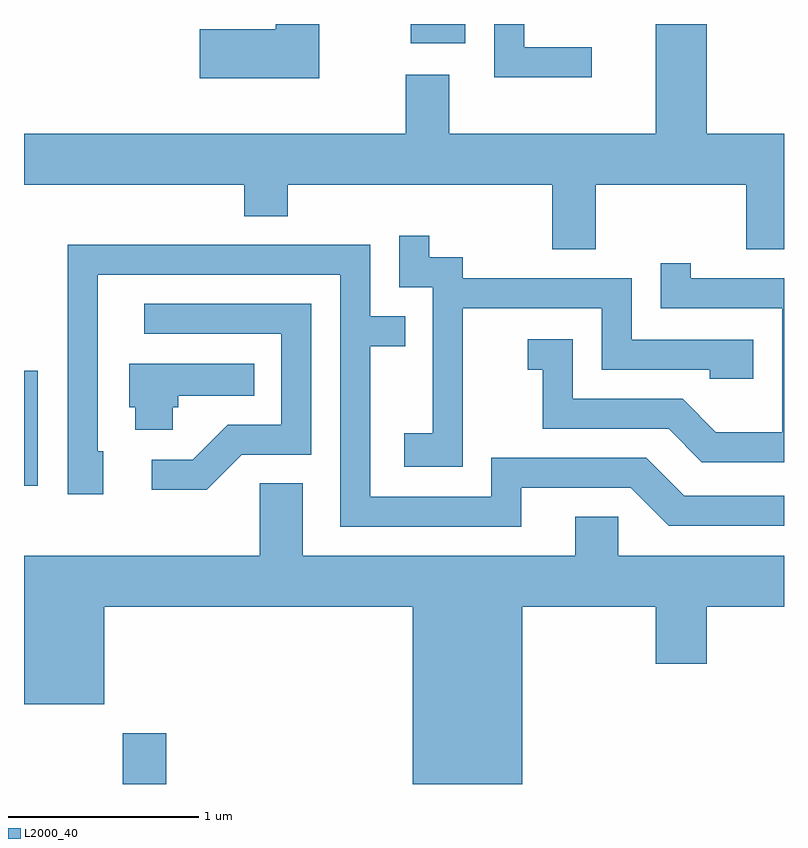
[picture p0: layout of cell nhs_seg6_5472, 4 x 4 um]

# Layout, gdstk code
import gdstk
lib = gdstk.Library(unit=1e-6, precision=1e-09)
def R(c, l, rs):  # rectangles x0, y0, x1, y1
    for r in rs: c.add(gdstk.rectangle(r[:2], r[2:], *l))
def P(c, l, *ps):  # polygons
    for p in ps: c.add(gdstk.Polygon(p, *l))
L2000_40 = (2000, 40)

nhs_seg6_5472 = lib.new_cell('nhs_seg6_5472')
R(nhs_seg6_5472, L2000_40, [(352.131,1600.162,352.359,1600.429), (351.611,1601.731,351.684,1602.338), (353.646,1604.061,353.934,1604.162)])
P(nhs_seg6_5472, L2000_40, [(353.164,1604.162),(352.936,1604.162),(352.936,1604.134),(352.536,1604.134),(352.536,1603.876),(353.164,1603.876)],
  [(354.619,1603.316),(355.411,1603.316),(355.411,1602.976),(355.611,1602.976),(355.611,1603.584),(355.204,1603.584),(355.204,1604.162),(354.936,1604.162),(354.936,1603.584),(353.849,1603.584),(353.849,1603.894),(353.621,1603.894),(353.621,1603.584),(351.611,1603.584),(351.611,1603.316),(352.771,1603.316),(352.771,1603.151),(352.999,1603.151),(352.999,1603.316),(354.391,1603.316),(354.391,1602.976),(354.619,1602.976)],
  [(354.598,1604.039),(354.244,1604.039),(354.244,1604.162),(354.086,1604.162),(354.086,1603.881),(354.598,1603.881)],
  [(353.919,1602.666),(354.651,1602.666),(354.651,1602.341),(355.221,1602.341),(355.221,1602.296),(355.449,1602.296),(355.449,1602.499),(354.809,1602.499),(354.809,1602.824),(353.919,1602.824),(353.919,1602.934),(353.744,1602.934),(353.744,1603.048),(353.586,1603.048),(353.586,1602.776),(353.761,1602.776),(353.761,1602.009),(353.611,1602.009),(353.611,1601.831),(353.919,1601.831)],
  [(354.229,1601.721),(354.804,1601.721),(355.004,1601.521),(355.611,1601.521),(355.611,1601.679),(355.087,1601.679),(354.887,1601.879),(354.071,1601.879),(354.071,1601.674),(353.434,1601.674),(353.434,1602.466),(353.618,1602.466),(353.618,1602.624),(353.434,1602.624),(353.434,1602.999),(351.841,1602.999),(351.841,1601.686),(352.029,1601.686),(352.029,1601.914),(351.999,1601.914),(351.999,1602.841),(353.276,1602.841),(353.276,1601.516),(354.229,1601.516)],
  [(355.611,1602.824),(355.119,1602.824),(355.119,1602.903),(354.961,1602.903),(354.961,1602.666),(355.601,1602.666),(355.601,1602.014),(355.252,1602.014),(355.077,1602.189),(354.499,1602.189),(354.499,1602.504),(354.263,1602.504),(354.263,1602.341),(354.341,1602.341),(354.341,1602.031),(355.004,1602.031),(355.179,1601.856),(355.611,1601.856)],
  [(352.757,1601.896),(353.124,1601.896),(353.124,1602.689),(352.243,1602.689),(352.243,1602.531),(352.966,1602.531),(352.966,1602.054),(352.684,1602.054),(352.499,1601.869),(352.283,1601.869),(352.283,1601.711),(352.572,1601.711)],
  [(352.394,1602.146),(352.424,1602.146),(352.424,1602.206),(352.823,1602.206),(352.823,1602.374),(352.166,1602.374),(352.166,1602.146),(352.196,1602.146),(352.196,1602.026),(352.394,1602.026)],
  [(354.234,1601.096),(354.936,1601.096),(354.936,1600.796),(355.204,1600.796),(355.204,1601.096),(355.611,1601.096),(355.611,1601.364),(354.739,1601.364),(354.739,1601.569),(354.511,1601.569),(354.511,1601.364),(353.079,1601.364),(353.079,1601.744),(352.851,1601.744),(352.851,1601.364),(351.611,1601.364),(351.611,1600.581),(352.034,1600.581),(352.034,1601.096),(353.656,1601.096),(353.656,1600.162),(354.234,1600.162)])

lib.write_gds('nhs_seg6_5472.gds')
